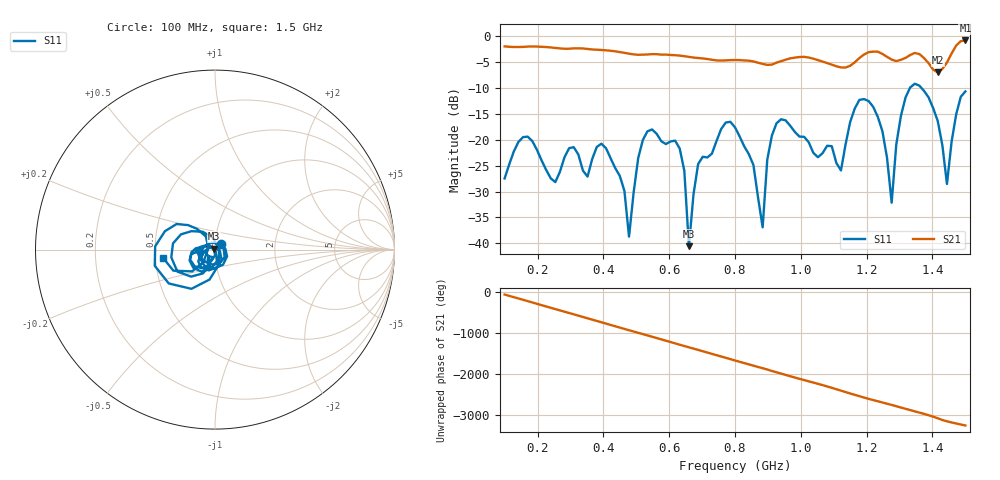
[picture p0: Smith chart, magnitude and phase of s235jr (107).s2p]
! NanoVNA-App
! Date: 2025-09-25 15:05:00
! Start: 100MHz Stop: 1,5GHz Points: 101
! S-Parameter data: F S11 S21 S12 S22
# Hz S RI R 50
!  Frequency  S11_Real  S11_Imag  S21_Real  S21_Imag  S12_Real  S12_Imag  S22_Real  S22_Imag
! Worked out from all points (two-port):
!   101 points, 100 MHz to 1.5 GHz, reference 50 ohm
!   highest |S21| = -0.82 dB at 1.5 GHz (marker M1); lowest = -7.0 dB at 1.416 GHz (marker M2)
!   |S21| within 3 dB of the highest: start of sweep to 641.3 MHz; 1.186 GHz to 1.258 GHz (71.72 MHz wide, 5.87 % of centre) (the widest 2 of 4)
!   lowest |S11| = -40.6 dB at 660 MHz (marker M3), VSWR 1.02, Z = 49.3 + j0.589 ohm
!   |S11| at or under -10 dB: start of sweep to 1.331 GHz; 1.367 GHz to end of sweep
!   S12 and S22 are empty: the file has one direction only
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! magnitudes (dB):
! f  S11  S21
! 100 MHz  -27.5  -2.0
! 170 MHz  -19.4  -2.0
! 338 MHz  -26.0  -2.4
! 408 MHz  -21.6  -2.7
! 478 MHz  -38.7  -3.4
! 520 MHz  -20.0  -3.6
! 576 MHz  -20.3  -3.5
! 632 MHz  -21.7  -3.7
! 660 MHz  -40.6  -4.0
! 688 MHz  -24.7  -4.2
! 800 MHz  -17.6  -4.6
! 884 MHz  -36.9  -5.3
! 898 MHz  -23.9  -5.5
! 926 MHz  -16.8  -5.1
! 1.038 GHz  -22.5  -4.3
! 1.122 GHz  -25.9  -6.0
! 1.206 GHz  -12.5  -3.1
! 1.276 GHz  -32.2  -4.5
! 1.332 GHz  -9.9  -3.6
! 1.416 GHz  -16.4  -7.0
! 1.444 GHz  -28.5  -5.1
! 1.5 GHz  -10.7  -0.8
